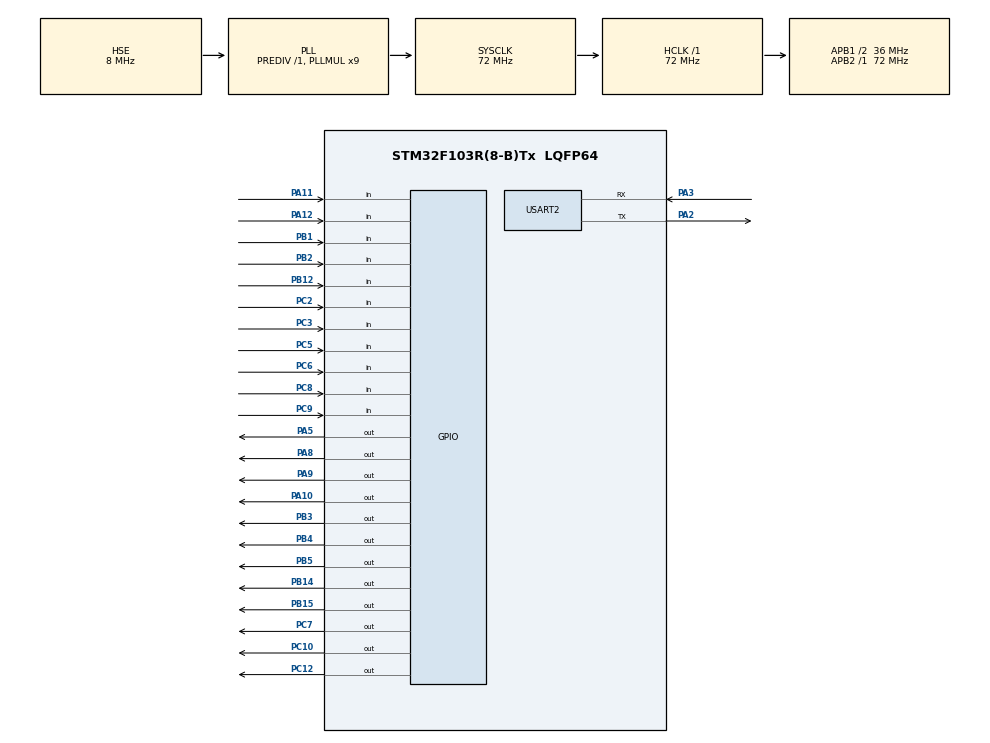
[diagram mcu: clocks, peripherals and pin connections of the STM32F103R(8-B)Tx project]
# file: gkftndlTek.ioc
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FREERTOS.Tasks01=defaultTask,24,128,StartDefaultTask,Default,NULL,Dynamic,NULL,NULL;myTask02,8,128,StartTask02,Default,NULL,Dynamic,NULL,NULL
FREERTOS.configUSE_NEWLIB_REENTRANT=1
Mcu.Family=STM32F1
Mcu.Name=STM32F103R(8-B)Tx
Mcu.Package=LQFP64
NVIC.PriorityGroup=NVIC_PRIORITYGROUP_4
NVIC.TIM3_IRQn=true\:15\:0\:false\:false\:true\:false\:false\:true\:true
NVIC.TimeBase=TIM3_IRQn
NVIC.TimeBaseIP=TIM3
PA10.Signal=GPIO_Output
PA11.GPIO_PuPd=GPIO_PULLDOWN
PA11.Signal=GPIO_Input
PA12.GPIO_PuPd=GPIO_PULLDOWN
PA12.Signal=GPIO_Input
PA13.Mode=Serial_Wire
PA13.Signal=SYS_JTMS-SWDIO
PA14.Mode=Serial_Wire
PA14.Signal=SYS_JTCK-SWCLK
PA2.Mode=Asynchronous
PA2.Signal=USART2_TX
PA3.Mode=Asynchronous
PA3.Signal=USART2_RX
PA5.Signal=GPIO_Output
PA8.Signal=GPIO_Output
PA9.Signal=GPIO_Output
PB1.GPIO_PuPd=GPIO_PULLDOWN
PB1.Signal=GPIO_Input
PB12.GPIO_PuPd=GPIO_PULLDOWN
PB12.Signal=GPIO_Input
PB14.Signal=GPIO_Output
PB15.Signal=GPIO_Output
PB2.GPIO_PuPd=GPIO_PULLDOWN
PB2.Signal=GPIO_Input
PB3.Signal=GPIO_Output
PB4.Signal=GPIO_Output
PB5.Signal=GPIO_Output
PC10.Signal=GPIO_Output
PC12.Signal=GPIO_Output
PC14-OSC32_IN.Mode=LSE-External-Clock-Source
PC14-OSC32_IN.Signal=RCC_OSC32_IN
PC15-OSC32_OUT.Mode=LSE-External-Clock-Source
PC15-OSC32_OUT.Signal=RCC_OSC32_OUT
PC2.GPIO_PuPd=GPIO_PULLDOWN
PC2.Signal=GPIO_Input
PC3.GPIO_PuPd=GPIO_PULLDOWN
PC3.Signal=GPIO_Input
PC5.GPIO_PuPd=GPIO_PULLDOWN
PC5.Signal=GPIO_Input
PC6.GPIO_PuPd=GPIO_PULLDOWN
PC6.Signal=GPIO_Input
PC7.Signal=GPIO_Output
PC8.GPIO_PuPd=GPIO_PULLDOWN
PC8.Signal=GPIO_Input
PC9.GPIO_PuPd=GPIO_PULLDOWN
PC9.Signal=GPIO_Input
PD0-OSC_IN.Mode=HSE-External-Oscillator
PD0-OSC_IN.Signal=RCC_OSC_IN
PD1-OSC_OUT.Mode=HSE-External-Oscillator
PD1-OSC_OUT.Signal=RCC_OSC_OUT
ProjectManager.HeapSize=0x200
ProjectManager.StackSize=0x400
ProjectManager.TargetToolchain=STM32CubeIDE
RCC.AHBFreq_Value=72000000
RCC.APB1CLKDivider=RCC_HCLK_DIV2
RCC.APB1Freq_Value=36000000
RCC.APB1TimFreq_Value=72000000
RCC.APB2Freq_Value=72000000
RCC.APB2TimFreq_Value=72000000
RCC.HCLKFreq_Value=72000000
RCC.PLLMUL=RCC_PLL_MUL9
RCC.PLLSourceVirtual=RCC_PLLSOURCE_HSE
RCC.SYSCLKFreq_VALUE=72000000
RCC.SYSCLKSource=RCC_SYSCLKSOURCE_PLLCLK
RCC.USBFreq_Value=72000000
USART2.VirtualMode=VM_ASYNC
VP_FREERTOS_VS_CMSIS_V2.Mode=CMSIS_V2
VP_SYS_VS_tim3.Mode=TIM3
board=custom

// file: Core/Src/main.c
/* USER CODE BEGIN Header */
/**
  ******************************************************************************
  * @file           : main.c
  * @brief          : Main program body
  ******************************************************************************
  * @attention
  *
  * Copyright (c) 2024 STMicroelectronics.
  * All rights reserved.
  *
  * This software is licensed under terms that can be found in the LICENSE file
  * in the root directory of this software component.
  * If no LICENSE file comes with this software, it is provided AS-IS.
  *
  ******************************************************************************
  */
/* USER CODE END Header */
#include "main.h"
#include "cmsis_os.h"
#include "usart.h"
#include "gpio.h"

/* USER CODE BEGIN Includes */
#include <stdbool.h>
#include <string.h>
#include <stdlib.h>

/* USER CODE END Includes */

/* USER CODE BEGIN PD */
uint8_t uart_rx_data[5];

SWITCHS switch_pin[9] = {
		{GPIOC, GPIO_PIN_8},
	{GPIOC, GPIO_PIN_6},
	{GPIOC, GPIO_PIN_5},
	{GPIOA, GPIO_PIN_12},
	{GPIOA, GPIO_PIN_11},
	{GPIOB, GPIO_PIN_12},
	{GPIOC, GPIO_PIN_2},
	{GPIOC, GPIO_PIN_3}
};
MOTOR motor1 = {
  .DIR_PORT = GPIOC,
  .DIR = GPIO_PIN_7,

  .ENA_PORT = GPIOA,
  .ENA = GPIO_PIN_9,

  .enaState = false,

  .go_way = MotorGoWay,
  .back_way = MotorBackWay,
  .stop = MotorStop
};

MOTOR motor2 = {

  .DIR_PORT = GPIOB,
  .DIR = GPIO_PIN_4,

  .ENA_PORT = GPIOB,
  .ENA = GPIO_PIN_5,

  .enaState = false,

  .go_way = MotorGoWay,
  .back_way = MotorBackWay,
  .stop = MotorStop
};

MOTOR motor3 = {

  .DIR_PORT = GPIOB,
  .DIR = GPIO_PIN_3,

  .ENA_PORT = GPIOA,
  .ENA = GPIO_PIN_10,

  .enaState = false,

  .go_way = MotorGoWay,
  .back_way = MotorBackWay,
  .stop = MotorStop
};

MOTOR motor4 = {

  .DIR_PORT = GPIOB,
  .DIR = GPIO_PIN_15,

  .ENA_PORT = GPIOB,
  .ENA = GPIO_PIN_14,

  .enaState = false,

  .go_way = MotorGoWay,
  .back_way = MotorBackWay,
  .stop = MotorStop
};

void MotorGoWay(MOTOR* motor) {
	HAL_GPIO_WritePin(motor->DIR_PORT, motor->DIR, GPIO_PIN_SET);
	HAL_GPIO_WritePin(motor->ENA_PORT, motor->ENA, 0);
	motor->enaState = true;
}

void MotorBackWay(MOTOR* motor) {
	HAL_GPIO_WritePin(motor->DIR_PORT, motor->DIR, GPIO_PIN_RESET);
	HAL_GPIO_WritePin(motor->ENA_PORT, motor->ENA, 0);
	motor->enaState = true;
}

void MotorStop(MOTOR* motor) {
	motor->enaState = false;
	HAL_GPIO_WritePin(motor->ENA_PORT, motor->ENA, 1);

}

/* USER CODE END PD */

void SystemClock_Config(void);
void MX_FREERTOS_Init(void);

int main(void)
{

  /* MCU Configuration--------------------------------------------------------*/

  /* Reset of all peripherals, Initializes the Flash interface and the Systick. */
  HAL_Init();

  /* Configure the system clock */
  SystemClock_Config();

  /* Initialize all configured peripherals */
  MX_GPIO_Init();
  MX_USART2_UART_Init();

  /* Init scheduler */
  osKernelInitialize();  /* Call init function for freertos objects (in freertos.c) */
  MX_FREERTOS_Init();

  /* Start scheduler */
  osKernelStart();
  /* We should never get here as control is now taken by the scheduler */
  /* Infinite loop */
  while (1)
  {

  }
}

void SystemClock_Config(void)
{
  RCC_OscInitTypeDef RCC_OscInitStruct = {0};
  RCC_ClkInitTypeDef RCC_ClkInitStruct = {0};

  /** Initializes the RCC Oscillators according to the specified parameters
  * in the RCC_OscInitTypeDef structure.
  */
  RCC_OscInitStruct.OscillatorType = RCC_OSCILLATORTYPE_HSE;
  RCC_OscInitStruct.HSEState = RCC_HSE_ON;
  RCC_OscInitStruct.HSEPredivValue = RCC_HSE_PREDIV_DIV1;
  RCC_OscInitStruct.HSIState = RCC_HSI_ON;
  RCC_OscInitStruct.PLL.PLLState = RCC_PLL_ON;
  RCC_OscInitStruct.PLL.PLLSource = RCC_PLLSOURCE_HSE;
  RCC_OscInitStruct.PLL.PLLMUL = RCC_PLL_MUL9;
  if (HAL_RCC_OscConfig(&RCC_OscInitStruct) != HAL_OK)
  {
    Error_Handler();
  }

  /** Initializes the CPU, AHB and APB buses clocks
  */
  RCC_ClkInitStruct.ClockType = RCC_CLOCKTYPE_HCLK|RCC_CLOCKTYPE_SYSCLK
                              |RCC_CLOCKTYPE_PCLK1|RCC_CLOCKTYPE_PCLK2;
  RCC_ClkInitStruct.SYSCLKSource = RCC_SYSCLKSOURCE_PLLCLK;
  RCC_ClkInitStruct.AHBCLKDivider = RCC_SYSCLK_DIV1;
  RCC_ClkInitStruct.APB1CLKDivider = RCC_HCLK_DIV2;
  RCC_ClkInitStruct.APB2CLKDivider = RCC_HCLK_DIV1;

  if (HAL_RCC_ClockConfig(&RCC_ClkInitStruct, FLASH_LATENCY_2) != HAL_OK)
  {
    Error_Handler();
  }
}

void HAL_TIM_PeriodElapsedCallback(TIM_HandleTypeDef *htim)
{
  if (htim->Instance == TIM3) {
    HAL_IncTick();
  }
}

void Error_Handler(void)
{
  __disable_irq();
  while (1)
  {
  }
}

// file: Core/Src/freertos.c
/* USER CODE BEGIN Header */
/**
  ******************************************************************************
  * File Name          : freertos.c
  * Description        : Code for freertos applications
  ******************************************************************************
  * @attention
  *
  * Copyright (c) 2024 STMicroelectronics.
  * All rights reserved.
  *
  * This software is licensed under terms that can be found in the LICENSE file
  * in the root directory of this software component.
  * If no LICENSE file comes with this software, it is provided AS-IS.
  *
  ******************************************************************************
  */
/* USER CODE END Header */

#include "FreeRTOS.h"
#include "task.h"
#include "main.h"
#include "cmsis_os.h"

/* USER CODE BEGIN Includes */
#include "usart.h"
/* USER CODE END Includes */

/* USER CODE BEGIN PTD */
extern MOTOR motor1;
extern MOTOR motor2;
extern MOTOR motor3;
extern MOTOR motor4;
extern SWITCHS switch_pin[6];

/* USER CODE END PTD */

/* Definitions for defaultTask */
osThreadId_t defaultTaskHandle;
const osThreadAttr_t defaultTask_attributes = {
  .name = "defaultTask",
  .stack_size = 128 * 4,
  .priority = (osPriority_t) osPriorityNormal,
};
/* Definitions for myTask02 */
osThreadId_t myTask02Handle;
const osThreadAttr_t myTask02_attributes = {
  .name = "myTask02",
  .stack_size = 128 * 4,
  .priority = (osPriority_t) osPriorityLow,
};

void StartDefaultTask(void *argument);
void StartTask02(void *argument);

void MX_FREERTOS_Init(void); /* (MISRA C 2004 rule 8.1) */

void MX_FREERTOS_Init(void) {

  /* Create the thread(s) */
  /* creation of defaultTask */
  defaultTaskHandle = osThreadNew(StartDefaultTask, NULL, &defaultTask_attributes);

  /* creation of myTask02 */
  myTask02Handle = osThreadNew(StartTask02, NULL, &myTask02_attributes);

}

void StartDefaultTask(void *argument)
{
  /* USER CODE BEGIN StartDefaultTask */
  /* Infinite loop */
	const char *message = "task1\n";
	for(;;)
	{

		if(HAL_GPIO_ReadPin(switch_pin[4].pin_port, switch_pin[4].pin) == GPIO_PIN_RESET){
			if(HAL_GPIO_ReadPin(motor1.DIR_PORT, motor1.DIR) == GPIO_PIN_SET){
				HAL_GPIO_WritePin(motor1.ENA_PORT, motor1.ENA, GPIO_PIN_SET);
				HAL_GPIO_WritePin(GPIOA, GPIO_PIN_5, GPIO_PIN_SET);
			}
		}
		if(HAL_GPIO_ReadPin(switch_pin[5].pin_port, switch_pin[5].pin) == GPIO_PIN_RESET){
			if(HAL_GPIO_ReadPin(motor1.DIR_PORT, motor1.DIR) == GPIO_PIN_RESET){
				HAL_GPIO_WritePin(motor1.ENA_PORT, motor1.ENA, GPIO_PIN_SET);
				HAL_GPIO_WritePin(GPIOA, GPIO_PIN_5, GPIO_PIN_SET);
			}
		}
		if(HAL_GPIO_ReadPin(switch_pin[3].pin_port, switch_pin[3].pin) == GPIO_PIN_RESET){
			if(HAL_GPIO_ReadPin(motor3.DIR_PORT, motor3.DIR) == GPIO_PIN_SET){
				HAL_GPIO_WritePin(motor3.ENA_PORT, motor3.ENA, GPIO_PIN_SET);
				HAL_GPIO_WritePin(GPIOA, GPIO_PIN_5, GPIO_PIN_SET);
			}
		}

		if(HAL_GPIO_ReadPin(switch_pin[2].pin_port, switch_pin[2].pin) == GPIO_PIN_RESET){
			if(HAL_GPIO_ReadPin(motor2.DIR_PORT, motor2.DIR) == GPIO_PIN_SET){
				HAL_GPIO_WritePin(motor2.ENA_PORT, motor2.ENA, GPIO_PIN_SET);
				HAL_GPIO_WritePin(GPIOA, GPIO_PIN_5, GPIO_PIN_SET);
			}
		}

		if(HAL_GPIO_ReadPin(switch_pin[1].pin_port, switch_pin[1].pin) == GPIO_PIN_RESET){
			if(HAL_GPIO_ReadPin(motor3.DIR_PORT, motor3.DIR) == GPIO_PIN_RESET){
				HAL_GPIO_WritePin(motor3.ENA_PORT, motor3.ENA, GPIO_PIN_SET);
				HAL_GPIO_WritePin(GPIOA, GPIO_PIN_5, GPIO_PIN_SET);
			}
		}

		if(HAL_GPIO_ReadPin(switch_pin[0].pin_port, switch_pin[0].pin) == GPIO_PIN_RESET){
			if(HAL_GPIO_ReadPin(motor2.DIR_PORT, motor2.DIR) == GPIO_PIN_RESET){
				HAL_GPIO_WritePin(motor2.ENA_PORT, motor2.ENA, GPIO_PIN_SET);
				HAL_GPIO_WritePin(GPIOA, GPIO_PIN_5, GPIO_PIN_SET);
			}
		}

		if(HAL_GPIO_ReadPin(switch_pin[6].pin_port, switch_pin[6].pin) == GPIO_PIN_RESET){
			if(HAL_GPIO_ReadPin(motor4.DIR_PORT, motor4.DIR) == GPIO_PIN_SET){
				HAL_GPIO_WritePin(motor4.ENA_PORT, motor4.ENA, GPIO_PIN_SET);
				HAL_GPIO_WritePin(GPIOA, GPIO_PIN_5, GPIO_PIN_SET);
			}
		}

		if(HAL_GPIO_ReadPin(switch_pin[7].pin_port, switch_pin[7].pin) == GPIO_PIN_RESET){
			if(HAL_GPIO_ReadPin(motor4.DIR_PORT, motor4.DIR) == GPIO_PIN_RESET){
				HAL_GPIO_WritePin(motor4.ENA_PORT, motor4.ENA, GPIO_PIN_SET);
				HAL_GPIO_WritePin(GPIOA, GPIO_PIN_5, GPIO_PIN_SET);
			}
		}

	osDelay(1); // osDelay�??????? ?��?��?��?�� ?���??????? ?��?��?���??????? ?��?��?�� ?�� ?��?���??????? ?��
	}
  /* USER CODE END StartDefaultTask */
}

void StartTask02(void *argument)
{
  /* USER CODE BEGIN StartTask02 */
  /* Infinite loop */
  char RxBuffer[100];
  char TxBuffer[100];
  uint16_t RxIndex = 0;
  uint16_t RxSize = sizeof(RxBuffer);

  for(;;)
  {
    uint8_t receivedByte;
    if (HAL_UART_Receive(&huart2, &receivedByte, 1, HAL_MAX_DELAY) == HAL_OK) {
      RxBuffer[RxIndex++] = receivedByte;

      if (receivedByte == '\n') {
        RxBuffer[RxIndex] = '\0';

        if (RxIndex >= 4) {
          uint16_t halfLength = RxIndex / 2;

          strncpy(TxBuffer, RxBuffer, halfLength);
          TxBuffer[halfLength] = '\0';

          if (strncmp(TxBuffer, "01", halfLength) == 0) {
              motor2.go_way(&motor2);
              motor3.go_way(&motor3);
              HAL_GPIO_TogglePin(GPIOA, GPIO_PIN_5);
          }
          else if (strncmp(TxBuffer, "10", halfLength) == 0) {
              motor2.back_way(&motor2);
              motor3.back_way(&motor3);
              HAL_GPIO_TogglePin(GPIOA, GPIO_PIN_5);
          }
          else if (strncmp(TxBuffer, "11", halfLength) == 0) {
              motor2.stop(&motor2);
              motor3.stop(&motor3);

              HAL_GPIO_TogglePin(GPIOA, GPIO_PIN_5);
          }

          if (strncmp(RxBuffer + halfLength, "01", 2) == 0) {
              motor1.go_way(&motor1);
          }
          else if (strncmp(RxBuffer + halfLength, "10", 2) == 0) {
              motor1.back_way(&motor1);
          }
          else if (strncmp(RxBuffer + halfLength, "11", 2) == 0) {
              motor1.stop(&motor1);
          }
        } else if (RxIndex >=  2) {
          if (strncmp(RxBuffer, "31", 2) == 0) {
              motor4.go_way(&motor4);
          }
          else if (strncmp(RxBuffer, "32", 2) == 0) {
              motor4.back_way(&motor4);
          }
          else if (strncmp(RxBuffer, "33", 2) == 0) {
              motor4.stop(&motor4);
          }
        }

        RxIndex = 0;
        memset(RxBuffer, 0, RxSize);
      }

      if (RxIndex >= RxSize) {
        RxIndex = 0;
      }
    }
  }
  /* USER CODE END StartTask02 */
}
